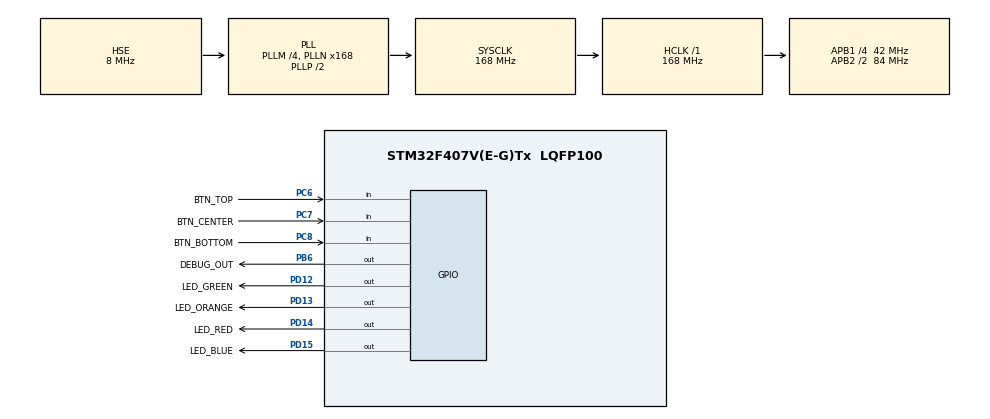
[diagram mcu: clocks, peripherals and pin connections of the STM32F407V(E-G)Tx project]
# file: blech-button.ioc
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Mcu.Family=STM32F4
Mcu.Name=STM32F407V(E-G)Tx
Mcu.Package=LQFP100
NVIC.PriorityGroup=NVIC_PRIORITYGROUP_4
PA13.Mode=Serial_Wire
PA13.Signal=SYS_JTMS-SWDIO
PA14.Mode=Serial_Wire
PA14.Signal=SYS_JTCK-SWCLK
PB6.GPIO_Label=DEBUG_OUT
PB6.Signal=GPIO_Output
PC6.GPIO_Label=BTN_TOP
PC6.GPIO_PuPd=GPIO_PULLUP
PC6.Signal=GPIO_Input
PC7.GPIO_Label=BTN_CENTER
PC7.GPIO_PuPd=GPIO_PULLUP
PC7.Signal=GPIO_Input
PC8.GPIO_Label=BTN_BOTTOM
PC8.GPIO_PuPd=GPIO_PULLUP
PC8.Signal=GPIO_Input
PD12.GPIO_Label=LED_GREEN
PD12.Signal=GPIO_Output
PD13.GPIO_Label=LED_ORANGE
PD13.Signal=GPIO_Output
PD14.GPIO_Label=LED_RED
PD14.Signal=GPIO_Output
PD15.GPIO_Label=LED_BLUE
PD15.Signal=GPIO_Output
PH0-OSC_IN.Mode=HSE-External-Oscillator
PH0-OSC_IN.Signal=RCC_OSC_IN
PH1-OSC_OUT.Mode=HSE-External-Oscillator
PH1-OSC_OUT.Signal=RCC_OSC_OUT
ProjectManager.HeapSize=0x200
ProjectManager.StackSize=0x400
ProjectManager.TargetToolchain=STM32CubeIDE
RCC.48MHZClocksFreq_Value=84000000
RCC.AHBFreq_Value=168000000
RCC.APB1CLKDivider=RCC_HCLK_DIV4
RCC.APB1Freq_Value=42000000
RCC.APB1TimFreq_Value=84000000
RCC.APB2CLKDivider=RCC_HCLK_DIV2
RCC.APB2Freq_Value=84000000
RCC.APB2TimFreq_Value=168000000
RCC.CortexFreq_Value=168000000
RCC.HCLKFreq_Value=168000000
RCC.HSE_VALUE=8000000
RCC.HSI_VALUE=16000000
RCC.LSE_VALUE=32768
RCC.PLLM=4
RCC.PLLN=168
RCC.PLLSourceVirtual=RCC_PLLSOURCE_HSE
RCC.SYSCLKFreq_VALUE=168000000
RCC.SYSCLKSource=RCC_SYSCLKSOURCE_PLLCLK
RCC.VCOOutputFreq_Value=336000000
board=custom

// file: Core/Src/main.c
/* USER CODE BEGIN Header */
/**
  ******************************************************************************
  * @file           : main.c
  * @brief          : Main program body
  ******************************************************************************
  * @attention
  *
  * <h2><center>&copy; Copyright (c) 2020 STMicroelectronics.
  * All rights reserved.</center></h2>
  *
  * This software component is licensed by ST under BSD 3-Clause license,
  * the "License"; You may not use this file except in compliance with the
  * License. You may obtain a copy of the License at:
  *                        opensource.org/licenses/BSD-3-Clause
  *
  ******************************************************************************
  */
/* USER CODE END Header */

#include "main.h"
#include "gpio.h"

/* USER CODE BEGIN Includes */
#include "blech/control.h"
/* USER CODE END Includes */

void SystemClock_Config(void);

/* USER CODE BEGIN 0 */
void perform_reaction (void)
{
	HAL_GPIO_WritePin(DEBUG_OUT_GPIO_Port, DEBUG_OUT_Pin, GPIO_PIN_SET);

	struct blc_control_LedStates leds;
	leds.green = HAL_GPIO_ReadPin(LED_GREEN_GPIO_Port, LED_GREEN_Pin);
	leds.orange = HAL_GPIO_ReadPin(LED_ORANGE_GPIO_Port, LED_ORANGE_Pin);
	leds.red = HAL_GPIO_ReadPin(LED_RED_GPIO_Port, LED_RED_Pin);
	leds.blue = HAL_GPIO_ReadPin(LED_BLUE_GPIO_Port, LED_BLUE_Pin);

	struct blc_control_ButtonStates btn;
	btn.top = (HAL_GPIO_ReadPin(BTN_TOP_GPIO_Port, BTN_TOP_Pin) == GPIO_PIN_RESET) ? 1 : 0; // Active 'LOW'.
	btn.center = (HAL_GPIO_ReadPin(BTN_CENTER_GPIO_Port, BTN_CENTER_Pin) == GPIO_PIN_RESET) ? 1 : 0; // Active 'LOW'.
	btn.bottom = (HAL_GPIO_ReadPin(BTN_BOTTOM_GPIO_Port, BTN_BOTTOM_Pin) == GPIO_PIN_RESET) ? 1 : 0; // Active 'LOW'.

	blc_blech_control_tick(&btn, &leds);

	HAL_GPIO_WritePin(LED_GREEN_GPIO_Port, LED_GREEN_Pin, leds.green);
	HAL_GPIO_WritePin(LED_ORANGE_GPIO_Port, LED_ORANGE_Pin, leds.orange);
	HAL_GPIO_WritePin(LED_RED_GPIO_Port, LED_RED_Pin, leds.red);
	HAL_GPIO_WritePin(LED_BLUE_GPIO_Port, LED_BLUE_Pin, leds.blue);

	HAL_GPIO_WritePin(DEBUG_OUT_GPIO_Port, DEBUG_OUT_Pin, GPIO_PIN_RESET);
}
/* USER CODE END 0 */

int main(void)
{

  /* MCU Configuration--------------------------------------------------------*/

  /* Reset of all peripherals, Initializes the Flash interface and the Systick. */
  HAL_Init();

  /* Configure the system clock */
  SystemClock_Config();

  /* Initialize all configured peripherals */
  MX_GPIO_Init();
  /* USER CODE BEGIN 2 */
  blc_blech_control_init();
  perform_reaction();
  /* USER CODE END 2 */

  /* Infinite loop */
  while (1)
  {

    /* USER CODE BEGIN 3 */
	  HAL_Delay(10);
	  perform_reaction();
  }
  /* USER CODE END 3 */
}

void SystemClock_Config(void)
{
  RCC_OscInitTypeDef RCC_OscInitStruct = {0};
  RCC_ClkInitTypeDef RCC_ClkInitStruct = {0};

  /** Configure the main internal regulator output voltage
  */
  __HAL_RCC_PWR_CLK_ENABLE();
  __HAL_PWR_VOLTAGESCALING_CONFIG(PWR_REGULATOR_VOLTAGE_SCALE1);
  /** Initializes the CPU, AHB and APB busses clocks
  */
  RCC_OscInitStruct.OscillatorType = RCC_OSCILLATORTYPE_HSE;
  RCC_OscInitStruct.HSEState = RCC_HSE_ON;
  RCC_OscInitStruct.PLL.PLLState = RCC_PLL_ON;
  RCC_OscInitStruct.PLL.PLLSource = RCC_PLLSOURCE_HSE;
  RCC_OscInitStruct.PLL.PLLM = 4;
  RCC_OscInitStruct.PLL.PLLN = 168;
  RCC_OscInitStruct.PLL.PLLP = RCC_PLLP_DIV2;
  RCC_OscInitStruct.PLL.PLLQ = 4;
  if (HAL_RCC_OscConfig(&RCC_OscInitStruct) != HAL_OK)
  {
    Error_Handler();
  }
  /** Initializes the CPU, AHB and APB busses clocks
  */
  RCC_ClkInitStruct.ClockType = RCC_CLOCKTYPE_HCLK|RCC_CLOCKTYPE_SYSCLK
                              |RCC_CLOCKTYPE_PCLK1|RCC_CLOCKTYPE_PCLK2;
  RCC_ClkInitStruct.SYSCLKSource = RCC_SYSCLKSOURCE_PLLCLK;
  RCC_ClkInitStruct.AHBCLKDivider = RCC_SYSCLK_DIV1;
  RCC_ClkInitStruct.APB1CLKDivider = RCC_HCLK_DIV4;
  RCC_ClkInitStruct.APB2CLKDivider = RCC_HCLK_DIV2;

  if (HAL_RCC_ClockConfig(&RCC_ClkInitStruct, FLASH_LATENCY_5) != HAL_OK)
  {
    Error_Handler();
  }
}

void Error_Handler(void)
{
}

/************************ (C) COPYRIGHT STMicroelectronics *****END OF FILE****/
